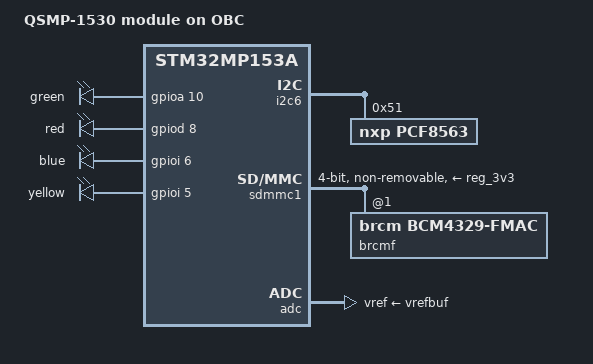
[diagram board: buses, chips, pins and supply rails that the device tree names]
// SPDX-License-Identifier: GPL-2.0 OR BSD-3-Clause
/*
 * Copyright (C) 2022 Roman Blöchliger <roman.bloechliger@schmid-elektronik.ch>
 */


#include "stm32mp153a-qsmp-1530-obc.dtsi"

/ {
	model = "QSMP-1530 module on OBC";

	leds {
        compatible = "gpio-leds";

        green {
            linux,default-trigger = "none";
            gpios = <&gpioa 10 (GPIO_ACTIVE_HIGH | GPIO_PULL_DOWN)>; /* Pin 77 */
            default-state = "on";
        };

        red {
            linux,default-trigger = "none";
            gpios = <&gpiod 8 (GPIO_ACTIVE_HIGH | GPIO_PULL_DOWN)>; /* Pin 76 */
            default-state = "on";
        };

        blue {
            linux,default-trigger = "none";
            default-state = "on";
            gpios = <&gpioi 6 (GPIO_ACTIVE_HIGH | GPIO_PULL_DOWN)>; /* Pin 75 */
        };

        yellow {
            linux,default-trigger = "none";
            gpios = <&gpioi 5 (GPIO_ACTIVE_HIGH | GPIO_PULL_DOWN)>; /* Pin 74 */
            default-state = "on";
        };

    };

};

&i2c6 {
    pcf8563: pcf8563@51 {
        compatible = "nxp,pcf8563";
        reg = <0x51>;
        #clock-cells = <0>;
        status = "okay";
    };
};

&sdmmc1 {
    #address-cells = <1>;
    #size-cells = <0>;
        pinctrl-names = "default", "opendrain", "sleep";
        pinctrl-0 = <&qsmp_sdmmc1_pins>;
        pinctrl-1 = <&qsmp_sdmmc1_opendrain_pins>;
        pinctrl-2 = <&qsmp_sdmmc1_sleep_pins>;
        bus-width = <4>;
        vmmc-supply = <&reg_3v3>;
        //cd-gpios = <&gpiob 7 (GPIO_ACTIVE_LOW | GPIO_PULL_UP)>;
        //no-1-8-v;
        st,neg-edge;
        non-removable;
        status = "okay";
        brcmf: wifi@1 {
            reg = <1>;
            compatible = "brcm,bcm4329-fmac";
            laird,regdomain = "ETSI";
            brcm,sd_sgentry_align = /bits/ 16 <32>;
            status = "okay";
        };
};

// spi pins are used as adc input
&spi6 {
        status = "disabled";
};

&adc {
        vdd-supply = <&reg_3v3>;
        vdda-supply = <&reg_3v3>;
        // "somebody" writes reg_3v3 to vref
        // so set vrefbuf (2.5V)
        vref-supply = <&vrefbuf>;
        status = "okay";
};

&adc2 {
    // ADC2, Channel 3 (PIN 98)
    st,adc-channels = <3>;
    st,min-sample-time-nsecs = <5000>;
};

